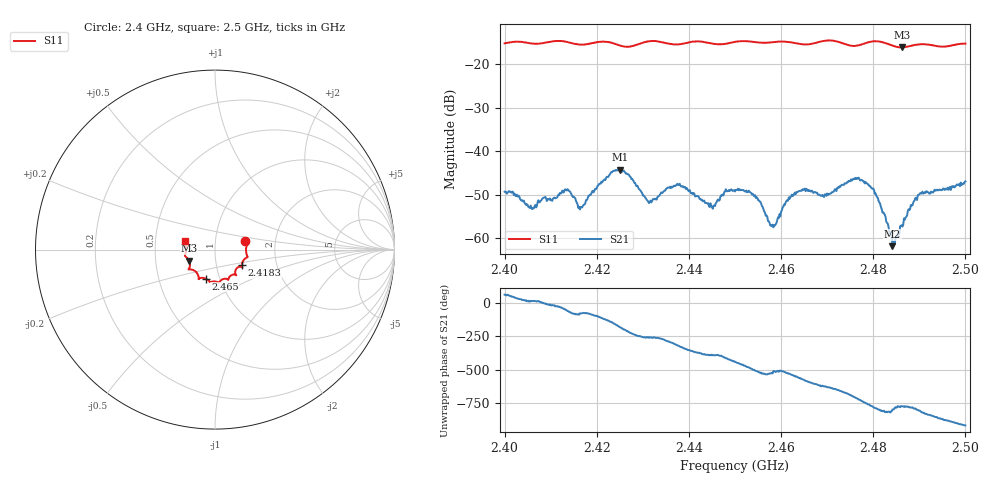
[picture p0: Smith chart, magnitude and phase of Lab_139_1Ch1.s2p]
# Hz S RI R 50
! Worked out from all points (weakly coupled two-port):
!   601 points, 2.4 GHz to 2.5 GHz, reference 50 ohm
!   highest |S21| = -44.20 dB at 2.425 GHz (marker M1); lowest = -61.8 dB at 2.4842 GHz (marker M2)
!   lowest |S11| = -16.1 dB at 2.4863 GHz (marker M3), VSWR 1.37, Z = 37.1 - j4.66 ohm
!   |S11| at or under -10 dB: start of sweep to end of sweep
!   S12 and S22 are empty: the file has one direction only
!   S11 on the Smith chart (normalised r, x): 2.4 GHz: 1.40, +0.13; 2.4183 GHz: 1.33, -0.24; 2.465 GHz: 0.86, -0.28; 2.5 GHz: 0.71, +0.07
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2.4e9  0.1685 0.0465  0.0016 0.00304  0 0  0 0
2.405833e9  0.1737 0.0108  0.00215 0.000525  0 0  0 0
2.4135e9  0.1758 -0.0446  0.00197 -0.00296  0 0  0 0
2.416667e9  0.1546 -0.0677  0.000476 -0.00223  0 0  0 0
2.418333e9  0.1496 -0.0866  0.000554 -0.00303  0 0  0 0
2.425e9  0.1344 -0.0957  -0.00616 5.9e-05  0 0  0 0
2.431e9  0.1165 -0.1415  -0.000549 0.00266  0 0  0 0
2.433333e9  0.1176 -0.1412  -0.000428 0.00299  0 0  0 0
2.437667e9  0.0849 -0.1472  0.00314 0.00269  0 0  0 0
2.445e9  0.0622 -0.1623  0.00207 -0.00104  0 0  0 0
2.45e9  0.0255 -0.1799  0.000585 -0.00342  0 0  0 0
2.454333e9  0.0127 -0.1801  -0.00257 -0.00181  0 0  0 0
2.458167e9  -0.0183 -0.179  -0.0014 -0.000337  0 0  0 0
2.465e9  -0.0526 -0.1614  -0.003 0.00211  0 0  0 0
2.466667e9  -0.0711 -0.1571  -0.00191 0.00297  0 0  0 0
2.477167e9  -0.1235 -0.1131  0.00461 -0.00043  0 0  0 0
2.480333e9  -0.148 -0.1107  0.00136 -0.00297  0 0  0 0
2.483333e9  -0.1409 -0.0966  -3.64e-05 -0.00134  0 0  0 0
2.484167e9  -0.1394 -0.0875  0.000195 -0.00079  0 0  0 0
2.486333e9  -0.1444 -0.0612  0.000855 -0.00106  0 0  0 0
2.490167e9  -0.1665 -0.0364  0.000201 -0.00329  0 0  0 0
2.5e9  -0.1668 0.0469  -0.00436 0.00122  0 0  0 0
